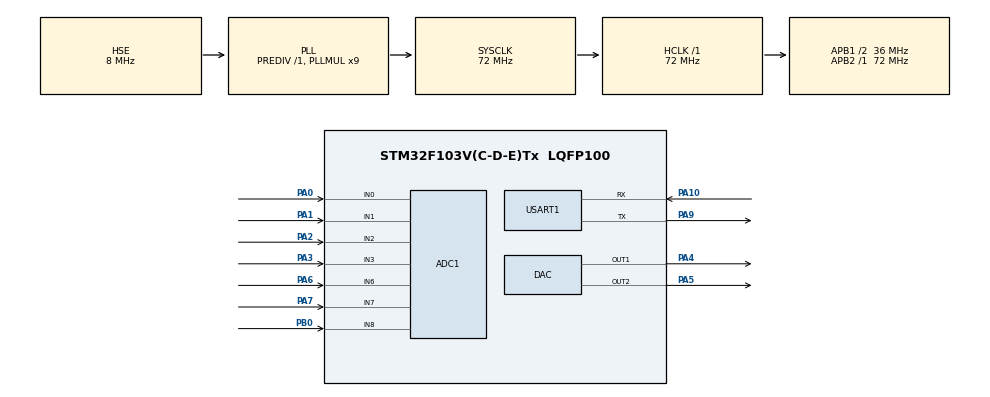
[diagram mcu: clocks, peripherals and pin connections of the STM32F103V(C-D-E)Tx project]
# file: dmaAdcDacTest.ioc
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ADC1.Channel-16\#ChannelRegularConversion=ADC_CHANNEL_0
ADC1.Channel-35\#ChannelRegularConversion=ADC_CHANNEL_1
ADC1.Channel-36\#ChannelRegularConversion=ADC_CHANNEL_2
ADC1.Channel-37\#ChannelRegularConversion=ADC_CHANNEL_3
ADC1.Channel-38\#ChannelRegularConversion=ADC_CHANNEL_6
ADC1.Channel-39\#ChannelRegularConversion=ADC_CHANNEL_7
ADC1.Channel-40\#ChannelRegularConversion=ADC_CHANNEL_8
ADC1.ContinuousConvMode=ENABLE
ADC1.DataAlign=ADC_DATAALIGN_RIGHT
ADC1.DiscontinuousConvMode=DISABLE
ADC1.EnableAnalogWatchDog=false
ADC1.EnableRegularConversion=ENABLE
ADC1.ExternalTrigConv=ADC_SOFTWARE_START
ADC1.InjNumberOfConversion=0
ADC1.NbrOfConversion=7
ADC1.NbrOfConversionFlag=1
ADC1.Rank-16\#ChannelRegularConversion=1
ADC1.Rank-35\#ChannelRegularConversion=2
ADC1.Rank-36\#ChannelRegularConversion=3
ADC1.Rank-37\#ChannelRegularConversion=4
ADC1.Rank-38\#ChannelRegularConversion=5
ADC1.Rank-39\#ChannelRegularConversion=6
ADC1.Rank-40\#ChannelRegularConversion=7
ADC1.SamplingTime-16\#ChannelRegularConversion=ADC_SAMPLETIME_239CYCLES_5
ADC1.SamplingTime-35\#ChannelRegularConversion=ADC_SAMPLETIME_239CYCLES_5
ADC1.SamplingTime-36\#ChannelRegularConversion=ADC_SAMPLETIME_239CYCLES_5
ADC1.SamplingTime-37\#ChannelRegularConversion=ADC_SAMPLETIME_239CYCLES_5
ADC1.SamplingTime-38\#ChannelRegularConversion=ADC_SAMPLETIME_239CYCLES_5
ADC1.SamplingTime-39\#ChannelRegularConversion=ADC_SAMPLETIME_239CYCLES_5
ADC1.SamplingTime-40\#ChannelRegularConversion=ADC_SAMPLETIME_239CYCLES_5
ADC1.ScanConvMode=ADC_SCAN_ENABLE
ADC1.master=1
Dma.ADC1.4.Direction=DMA_PERIPH_TO_MEMORY
Dma.ADC1.4.Instance=DMA1_Channel1
Dma.ADC1.4.MemDataAlignment=DMA_MDATAALIGN_WORD
Dma.ADC1.4.MemInc=DMA_MINC_ENABLE
Dma.ADC1.4.Mode=DMA_CIRCULAR
Dma.ADC1.4.PeriphDataAlignment=DMA_PDATAALIGN_WORD
Dma.ADC1.4.PeriphInc=DMA_PINC_DISABLE
Dma.ADC1.4.Priority=DMA_PRIORITY_LOW
Dma.DAC_CH1.2.Direction=DMA_MEMORY_TO_PERIPH
Dma.DAC_CH1.2.Instance=DMA2_Channel3
Dma.DAC_CH1.2.MemDataAlignment=DMA_MDATAALIGN_HALFWORD
Dma.DAC_CH1.2.MemInc=DMA_MINC_ENABLE
Dma.DAC_CH1.2.Mode=DMA_NORMAL
Dma.DAC_CH1.2.PeriphDataAlignment=DMA_PDATAALIGN_HALFWORD
Dma.DAC_CH1.2.PeriphInc=DMA_PINC_DISABLE
Dma.DAC_CH1.2.Priority=DMA_PRIORITY_LOW
Dma.DAC_CH2.3.Direction=DMA_MEMORY_TO_PERIPH
Dma.DAC_CH2.3.Instance=DMA2_Channel4
Dma.DAC_CH2.3.MemDataAlignment=DMA_MDATAALIGN_HALFWORD
Dma.DAC_CH2.3.MemInc=DMA_MINC_ENABLE
Dma.DAC_CH2.3.Mode=DMA_NORMAL
Dma.DAC_CH2.3.PeriphDataAlignment=DMA_PDATAALIGN_HALFWORD
Dma.DAC_CH2.3.PeriphInc=DMA_PINC_DISABLE
Dma.DAC_CH2.3.Priority=DMA_PRIORITY_LOW
Dma.Request0=USART1_RX
Dma.Request1=USART1_TX
Dma.Request2=DAC_CH1
Dma.Request3=DAC_CH2
Dma.Request4=ADC1
Dma.USART1_RX.0.Direction=DMA_PERIPH_TO_MEMORY
Dma.USART1_RX.0.Instance=DMA1_Channel5
Dma.USART1_RX.0.MemDataAlignment=DMA_MDATAALIGN_BYTE
Dma.USART1_RX.0.MemInc=DMA_MINC_ENABLE
Dma.USART1_RX.0.Mode=DMA_NORMAL
Dma.USART1_RX.0.PeriphDataAlignment=DMA_PDATAALIGN_BYTE
Dma.USART1_RX.0.PeriphInc=DMA_PINC_DISABLE
Dma.USART1_RX.0.Priority=DMA_PRIORITY_MEDIUM
Dma.USART1_TX.1.Direction=DMA_MEMORY_TO_PERIPH
Dma.USART1_TX.1.Instance=DMA1_Channel4
Dma.USART1_TX.1.MemDataAlignment=DMA_MDATAALIGN_BYTE
Dma.USART1_TX.1.MemInc=DMA_MINC_ENABLE
Dma.USART1_TX.1.Mode=DMA_NORMAL
Dma.USART1_TX.1.PeriphDataAlignment=DMA_PDATAALIGN_BYTE
Dma.USART1_TX.1.PeriphInc=DMA_PINC_DISABLE
Dma.USART1_TX.1.Priority=DMA_PRIORITY_MEDIUM
Mcu.Family=STM32F1
Mcu.Name=STM32F103V(C-D-E)Tx
Mcu.Package=LQFP100
NVIC.DMA1_Channel1_IRQn=true\:0\:0\:false\:false\:true
NVIC.DMA1_Channel4_IRQn=true\:0\:0\:false\:false\:true
NVIC.DMA1_Channel5_IRQn=true\:0\:0\:false\:false\:true
NVIC.DMA2_Channel3_IRQn=true\:0\:0\:false\:false\:true
NVIC.DMA2_Channel4_5_IRQn=true\:0\:0\:false\:false\:true
NVIC.PriorityGroup=NVIC_PRIORITYGROUP_4
NVIC.USART1_IRQn=true\:0\:0\:false\:false\:true
OSC_IN.Mode=HSE-External-Oscillator
OSC_IN.Signal=RCC_OSC_IN
OSC_OUT.Mode=HSE-External-Oscillator
OSC_OUT.Signal=RCC_OSC_OUT
PA0-WKUP.Signal=ADCx_IN0
PA1.Signal=ADCx_IN1
PA10.Mode=Asynchronous
PA10.Signal=USART1_RX
PA2.Signal=ADCx_IN2
PA3.Signal=ADCx_IN3
PA4.Signal=COMP_DAC1_group
PA5.Signal=COMP_DAC2_group
PA6.Signal=ADCx_IN6
PA7.Signal=ADCx_IN7
PA9.Mode=Asynchronous
PA9.Signal=USART1_TX
PB0.Signal=ADCx_IN8
ProjectManager.HeapSize=0x200
ProjectManager.StackSize=0x400
ProjectManager.TargetToolchain=TrueSTUDIO
RCC.ADCPresc=RCC_ADCPCLK2_DIV6
RCC.AHBFreq_Value=72000000
RCC.APB1CLKDivider=RCC_HCLK_DIV2
RCC.APB1Freq_Value=36000000
RCC.APB1TimFreq_Value=72000000
RCC.APB2Freq_Value=72000000
RCC.APB2TimFreq_Value=72000000
RCC.HCLKFreq_Value=72000000
RCC.PLLMUL=RCC_PLL_MUL9
RCC.PLLSourceVirtual=RCC_PLLSOURCE_HSE
RCC.SYSCLKFreq_VALUE=72000000
RCC.SYSCLKSource=RCC_SYSCLKSOURCE_PLLCLK
RCC.USBFreq_Value=72000000
SH.ADCx_IN0.0=ADC1_IN0,IN0
SH.ADCx_IN1.0=ADC1_IN1,IN1
SH.ADCx_IN2.0=ADC1_IN2,IN2
SH.ADCx_IN3.0=ADC1_IN3,IN3
SH.ADCx_IN6.0=ADC1_IN6,IN6
SH.ADCx_IN7.0=ADC1_IN7,IN7
SH.ADCx_IN8.0=ADC1_IN8,IN8
SH.COMP_DAC1_group.0=DAC_OUT1,DAC_OUT1
SH.COMP_DAC2_group.0=DAC_OUT2,DAC_OUT2
USART1.VirtualMode=VM_ASYNC
VP_SYS_VS_ND.Mode=No_Debug
board=dmaAdcDacTest

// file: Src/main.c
/**
  ******************************************************************************
  * File Name          : main.c
  * Description        : Main program body
  ******************************************************************************
  ** This notice applies to any and all portions of this file
  * that are not between comment pairs USER CODE BEGIN and
  * USER CODE END. Other portions of this file, whether
  * inserted by the user or by software development tools
  * are owned by their respective copyright owners.
  *
  * COPYRIGHT(c) 2017 STMicroelectronics
  *
  * Redistribution and use in source and binary forms, with or without modification,
  * are permitted provided that the following conditions are met:
  *   1. Redistributions of source code must retain the above copyright notice,
  *      this list of conditions and the following disclaimer.
  *   2. Redistributions in binary form must reproduce the above copyright notice,
  *      this list of conditions and the following disclaimer in the documentation
  *      and/or other materials provided with the distribution.
  *   3. Neither the name of STMicroelectronics nor the names of its contributors
  *      may be used to endorse or promote products derived from this software
  *      without specific prior written permission.
  *
  * THIS SOFTWARE IS PROVIDED BY THE COPYRIGHT HOLDERS AND CONTRIBUTORS "AS IS"
  * AND ANY EXPRESS OR IMPLIED WARRANTIES, INCLUDING, BUT NOT LIMITED TO, THE
  * IMPLIED WARRANTIES OF MERCHANTABILITY AND FITNESS FOR A PARTICULAR PURPOSE ARE
  * DISCLAIMED. IN NO EVENT SHALL THE COPYRIGHT HOLDER OR CONTRIBUTORS BE LIABLE
  * FOR ANY DIRECT, INDIRECT, INCIDENTAL, SPECIAL, EXEMPLARY, OR CONSEQUENTIAL
  * DAMAGES (INCLUDING, BUT NOT LIMITED TO, PROCUREMENT OF SUBSTITUTE GOODS OR
  * SERVICES; LOSS OF USE, DATA, OR PROFITS; OR BUSINESS INTERRUPTION) HOWEVER
  * CAUSED AND ON ANY THEORY OF LIABILITY, WHETHER IN CONTRACT, STRICT LIABILITY,
  * OR TORT (INCLUDING NEGLIGENCE OR OTHERWISE) ARISING IN ANY WAY OUT OF THE USE
  * OF THIS SOFTWARE, EVEN IF ADVISED OF THE POSSIBILITY OF SUCH DAMAGE.
  *
  ******************************************************************************
  */
#include "main.h"
#include "stm32f1xx_hal.h"
#include "adc.h"
#include "dac.h"
#include "dma.h"
#include "usart.h"
#include "gpio.h"

/* USER CODE BEGIN PV */
/* Private variables ---------------------------------------------------------*/

void serial_put_uint(uint16_t number)
{
	uint16_t i;
	uint16_t nTmp;

	for (i = 10000; i >= 1; i = i / 10)

	{
		nTmp = number / i % 10 + 0x30;
		if (nTmp >= 1) HAL_UART_Transmit(&huart1, (uint8_t *)&nTmp, 1, 0xff);
	}
	HAL_UART_Transmit(&huart1, "\r\n", 4, 0xff);
}

/* USER CODE END PV */

void SystemClock_Config(void);

/* USER CODE BEGIN PFP */
/* Private function prototypes -----------------------------------------------*/

/* USER CODE END PFP */

int main(void)
{

  /* MCU Configuration----------------------------------------------------------*/

  /* Reset of all peripherals, Initializes the Flash interface and the Systick. */
  HAL_Init();

  /* Configure the system clock */
  SystemClock_Config();

  /* USER CODE BEGIN SysInit */

	uint16_t ADC_ConvertedValueLocal[7];
  // AD转换结果值
  uint32_t ADC_ConvertedValue[7];

  /* USER CODE END SysInit */

  /* Initialize all configured peripherals */
  MX_GPIO_Init();
  MX_DMA_Init();
  MX_ADC1_Init();
  MX_DAC_Init();
  MX_USART1_UART_Init();

  /* USER CODE BEGIN 2 */

  HAL_ADCEx_Calibration_Start(&hadc1);
  /* 启动AD转换并使能DMA传输和中断 */
  HAL_ADC_Start_DMA(&hadc1, ADC_ConvertedValue, 7);

  uint8_t *a = "hello\r\n";
  /* USER CODE END 2 */

  /* Infinite loop */
  while (1)
  {

  /* USER CODE BEGIN 3 */

	  for (uint8_t i = 0; i < 7; i++)
	  {
		  ADC_ConvertedValueLocal[i] = (uint16_t)(ADC_ConvertedValue[i] & 0xFFF) * 3300 / 4096;
		  serial_put_uint(ADC_ConvertedValueLocal[i]);
		  HAL_Delay(50);
	  }
	  HAL_Delay(1000);
	  HAL_UART_Transmit(&huart1, "\r\n", 4, 0xff);
	  HAL_Delay(50);
  }
  /* USER CODE END 3 */

}

/** System Clock Configuration
*/
void SystemClock_Config(void)
{

  RCC_OscInitTypeDef RCC_OscInitStruct;
  RCC_ClkInitTypeDef RCC_ClkInitStruct;
  RCC_PeriphCLKInitTypeDef PeriphClkInit;

    /**Initializes the CPU, AHB and APB busses clocks
    */
  RCC_OscInitStruct.OscillatorType = RCC_OSCILLATORTYPE_HSE;
  RCC_OscInitStruct.HSEState = RCC_HSE_ON;
  RCC_OscInitStruct.HSEPredivValue = RCC_HSE_PREDIV_DIV1;
  RCC_OscInitStruct.HSIState = RCC_HSI_ON;
  RCC_OscInitStruct.PLL.PLLState = RCC_PLL_ON;
  RCC_OscInitStruct.PLL.PLLSource = RCC_PLLSOURCE_HSE;
  RCC_OscInitStruct.PLL.PLLMUL = RCC_PLL_MUL9;
  if (HAL_RCC_OscConfig(&RCC_OscInitStruct) != HAL_OK)
  {
    _Error_Handler(__FILE__, __LINE__);
  }

    /**Initializes the CPU, AHB and APB busses clocks
    */
  RCC_ClkInitStruct.ClockType = RCC_CLOCKTYPE_HCLK|RCC_CLOCKTYPE_SYSCLK
                              |RCC_CLOCKTYPE_PCLK1|RCC_CLOCKTYPE_PCLK2;
  RCC_ClkInitStruct.SYSCLKSource = RCC_SYSCLKSOURCE_PLLCLK;
  RCC_ClkInitStruct.AHBCLKDivider = RCC_SYSCLK_DIV1;
  RCC_ClkInitStruct.APB1CLKDivider = RCC_HCLK_DIV2;
  RCC_ClkInitStruct.APB2CLKDivider = RCC_HCLK_DIV1;

  if (HAL_RCC_ClockConfig(&RCC_ClkInitStruct, FLASH_LATENCY_2) != HAL_OK)
  {
    _Error_Handler(__FILE__, __LINE__);
  }

  PeriphClkInit.PeriphClockSelection = RCC_PERIPHCLK_ADC;
  PeriphClkInit.AdcClockSelection = RCC_ADCPCLK2_DIV6;
  if (HAL_RCCEx_PeriphCLKConfig(&PeriphClkInit) != HAL_OK)
  {
    _Error_Handler(__FILE__, __LINE__);
  }

    /**Configure the Systick interrupt time
    */
  HAL_SYSTICK_Config(HAL_RCC_GetHCLKFreq()/1000);

    /**Configure the Systick
    */
  HAL_SYSTICK_CLKSourceConfig(SYSTICK_CLKSOURCE_HCLK);

  /* SysTick_IRQn interrupt configuration */
  HAL_NVIC_SetPriority(SysTick_IRQn, 0, 0);
}

void _Error_Handler(char * file, int line)
{
  while(1)
  {
  }
}

/************************ (C) COPYRIGHT STMicroelectronics *****END OF FILE****/
